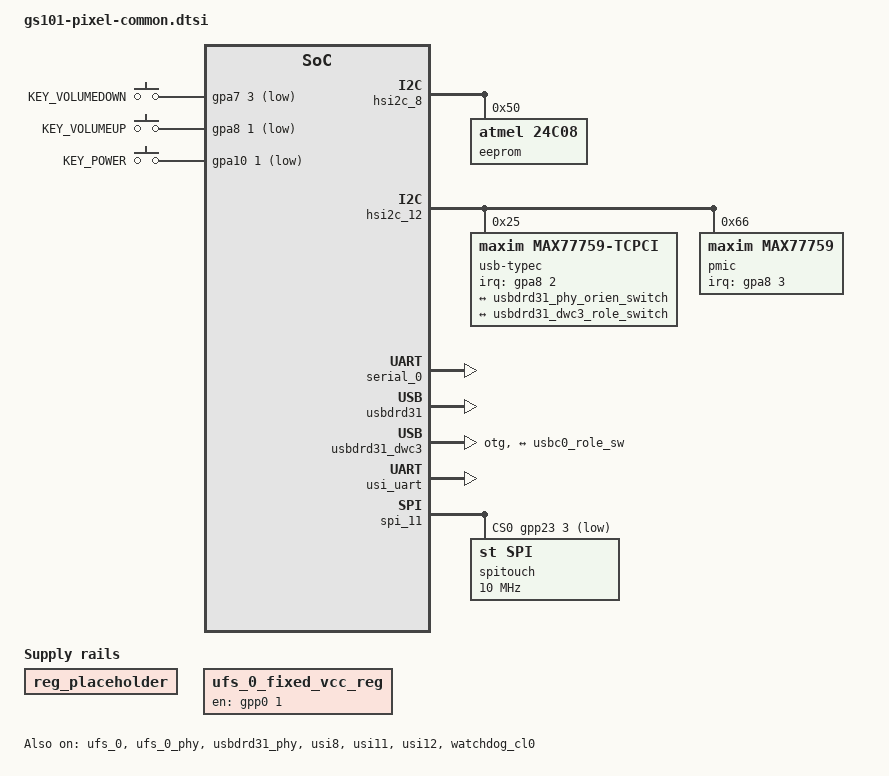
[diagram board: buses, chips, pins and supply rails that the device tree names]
// SPDX-License-Identifier: GPL-2.0-only
/*
 * Device Tree nodes common for all GS101-based Pixel
 *
 * Copyright 2021-2023 Google LLC
 * Copyright 2023 Linaro Ltd - <peter.griffin@linaro.org>
 */

/dts-v1/;

#include <dt-bindings/gpio/gpio.h>
#include <dt-bindings/input/input.h>
#include <dt-bindings/regulator/samsung,s2mpg10-regulator.h>
#include <dt-bindings/usb/pd.h>
#include "gs101-pinctrl.h"
#include "gs101.dtsi"

/ {
	aliases {
		serial0 = &serial_0;
	};

	chosen {
		/* Bootloader expects bootargs specified otherwise it crashes */
		bootargs = "";
		stdout-path = &serial_0;

		/* Use display framebuffer as setup by bootloader */
		framebuffer0: framebuffer-0 {
			compatible = "simple-framebuffer";
			memory-region = <&cont_splash_mem>;
			/* format properties to be added by actual board */
			status = "disabled";
		};
	};

	gpio-keys {
		compatible = "gpio-keys";
		pinctrl-0 = <&key_voldown>, <&key_volup>, <&key_power>;
		pinctrl-names = "default";

		button-vol-down {
			label = "KEY_VOLUMEDOWN";
			linux,code = <KEY_VOLUMEDOWN>;
			gpios = <&gpa7 3 GPIO_ACTIVE_LOW>;
			wakeup-source;
		};

		button-vol-up {
			label = "KEY_VOLUMEUP";
			linux,code = <KEY_VOLUMEUP>;
			gpios = <&gpa8 1 GPIO_ACTIVE_LOW>;
			wakeup-source;
		};

		button-power {
			label = "KEY_POWER";
			linux,code = <KEY_POWER>;
			gpios = <&gpa10 1 GPIO_ACTIVE_LOW>;
			wakeup-source;
		};
	};

	reboot-mode {
		compatible = "nvmem-reboot-mode";
		nvmem-cells = <&nvmem_reboot_mode>;
		nvmem-cell-names = "reboot-mode";
		mode-bootloader = <0x800000fc>;
		mode-charge = <0x8000000a>;
		mode-dm-verity-device-corrupted = <0x80000050>;
		mode-fastboot = <0x800000fa>;
		mode-reboot-ab-update = <0x80000052>;
		mode-recovery = <0x800000ff>;
		mode-rescue = <0x800000f9>;
		mode-shutdown-thermal = <0x80000051>;
		mode-shutdown-thermal-battery = <0x80000051>;
	};

	/* TODO: Remove this once PMIC is implemented  */
	reg_placeholder: regulator-0 {
		compatible = "regulator-fixed";
		regulator-name = "placeholder_reg";
	};

	/* TODO: Remove this once S2MPG11 slave PMIC is implemented  */
	ufs_0_fixed_vcc_reg: regulator-1 {
		compatible = "regulator-fixed";
		regulator-name = "ufs-vcc";
		gpio = <&gpp0 1 GPIO_ACTIVE_HIGH>;
		regulator-boot-on;
		enable-active-high;
	};

	reserved-memory {
		cont_splash_mem: splash@fac00000 {
			/* size to be updated by actual board */
			reg = <0x0 0xfac00000 0x0>;
			no-map;
			status = "disabled";
		};
	};
};

&acpm_ipc {
	pmic {
		compatible = "samsung,s2mpg10-pmic";
		interrupts-extended = <&gpa0 6 IRQ_TYPE_LEVEL_LOW>;
		pinctrl-names = "default";
		pinctrl-0 = <&pmic_int>;
		system-power-controller;
		wakeup-source;

		vinl1m-supply = <&s2mpg11_buck3s>;
		vinl2m-supply = <&s2mpg11_buck3s>;
		vinl3m-supply = <&s2mpg10_buck8m>;
		vinl4m-supply = <&s2mpg10_buck9m>;
		vinl5m-supply = <&s2mpg10_buck9m>;
		vinl6m-supply = <&s2mpg10_buck9m>;
		vinl7m-supply = <&s2mpg11_buck6s>;
		vinl8m-supply = <&s2mpg11_buck6s>;
		vinl9m-supply = <&s2mpg11_buck7s>;
		vinl10m-supply = <&s2mpg11_buck7s>;
		vinl11m-supply = <&s2mpg11_buck7s>;
		vinl12m-supply = <&s2mpg11_bucka>;
		vinl13m-supply = <&s2mpg11_bucka>;
		vinl14m-supply = <&s2mpg11_buckboost>;
		vinl15m-supply = <&s2mpg11_buckboost>;

		clocks {
			compatible = "samsung,s2mpg10-clk";
			#clock-cells = <1>;
			clock-output-names = "s2mpg10_ap", "s2mpg10_peri2",
					     "s2mpg10_peri1";
		};

		regulators {
			buck1m {
				regulator-name = "vdd_mif";
				regulator-min-microvolt = <450000>;
				regulator-max-microvolt = <1300000>;
				regulator-ramp-delay = <6250>;
				samsung,ext-control = <S2MPG10_PCTRLSEL_PWREN_MIF>;
				regulator-always-on;
			};

			buck2m {
				regulator-name = "vdd_cpucl2";
				regulator-min-microvolt = <450000>;
				regulator-max-microvolt = <1300000>;
				regulator-ramp-delay = <12500>;
				samsung,ext-control = <S2MPG10_PCTRLSEL_CPUCL2_EN2>;
				regulator-always-on;
			};

			buck3m {
				regulator-name = "vdd_cpucl1";
				regulator-min-microvolt = <450000>;
				regulator-max-microvolt = <1300000>;
				regulator-ramp-delay = <12500>;
				samsung,ext-control = <S2MPG10_PCTRLSEL_CPUCL1_EN2>;
				regulator-always-on;
			};

			buck4m {
				regulator-name = "vdd_cpucl0";
				regulator-min-microvolt = <450000>;
				regulator-max-microvolt = <1300000>;
				regulator-ramp-delay = <12500>;
				samsung,ext-control = <S2MPG10_PCTRLSEL_PWREN>;
				regulator-always-on;
			};

			buck5m {
				regulator-name = "vdd_int";
				regulator-ramp-delay = <12500>;
				samsung,ext-control = <S2MPG10_PCTRLSEL_PWREN_MIF>;
				regulator-always-on;
			};

			buck6m {
				regulator-name = "vdd_cpucl2_m";
				regulator-ramp-delay = <12500>;
				samsung,ext-control = <S2MPG10_PCTRLSEL_CPUCL2_EN2>;
				regulator-always-on;
			};

			buck7m {
				/* GPU */
				regulator-name = "vdd_int_m";
				regulator-ramp-delay = <6250>;
				samsung,ext-control = <S2MPG10_PCTRLSEL_PWREN_MIF>;
			};

			s2mpg10_buck8m: buck8m {
				regulator-name = "lldo2";
				regulator-ramp-delay = <6250>;
				// needs to be on during boot, until all consumers have
				// probed and established their links to this
				regulator-boot-on;
			};

			s2mpg10_buck9m: buck9m {
				regulator-name = "lldo3";
				regulator-ramp-delay = <6250>;
				// needs to be on during boot, until all consumers have
				// probed and established their links to this
				regulator-boot-on;
			};

			buck10m {
				regulator-name = "vdd_tpu";
				regulator-ramp-delay = <12500>;
				samsung,ext-control = <S2MPG10_PCTRLSEL_TPU_EN>;
			};

			ldo1m {
				/* ALIVE, AOC PLL */
				regulator-name = "vdd_l1m_alive";
				regulator-always-on;
			};

			s2mpg10_ldo2m: ldo2m {
				/* lots, DDR */
				regulator-name = "vdd_l2m_alive";
				regulator-always-on;
			};

			ldo3m {
				/* AVDD: MIPI CSI & DSI, PLL: CPUCL SHARED TPU UFS */
				regulator-name = "ldo3m";
				samsung,ext-control = <S2MPG10_PCTRLSEL_PWREN_MIF>;
				// we need always on otherwise things just hang
				regulator-always-on;
			};

			ldo4m {
				/* AVDD: MIPI CSI & DSI, UFS, OTP, TS_SUB, TS_TOP, XOTP */
				regulator-name = "S2MPG10_LDO4 (IO, OTP)";
				samsung,ext-control = <S2MPG10_PCTRLSEL_PWREN_MIF>;
				// we need always on otherwise hard reset
				regulator-always-on;
			};

			ldo5m {
				/* VDD: ADD, AVDD: TCXO & TCXO_FAR */
				regulator-name = "avdd075_tcxo";
				samsung,ext-control = <S2MPG10_PCTRLSEL_TCXO_ON>;
				// we need always on otherwise UFS stops working
				regulator-always-on;
			};

			ldo6m {
				/* PLL CPUCL & MIFx, UFS clk, MIPI DSI */
				regulator-name = "vdd_pll";
				samsung,ext-control = <S2MPG10_PCTRLSEL_PWREN_MIF>;
				// we need always on otherwise hang
				regulator-always-on;
			};

			ldo7m {
				/* IO (HSI (USB)) */
				// TODO: link to HSI - vdd_hsi-supply
				regulator-name = "vdd_hsi";
				regulator-min-microvolt = <750000>;
				regulator-max-microvolt = <750000>;
				// without this, Linux hangs during USB access
				regulator-always-on;
			};

			ldo8m {
				/* USB */
				regulator-name = "vdd085_usb";
				regulator-min-microvolt = <850000>;
				regulator-max-microvolt = <850000>;
				regulator-always-on;
			};

			ldo9m {
				/* USB */
				regulator-name = "vdd18_usb";
				regulator-min-microvolt = <1800000>;
				regulator-max-microvolt = <1800000>;
				regulator-always-on;
			};

			ldo10m {
				/* USB */
				regulator-name = "vdd33_usb";
				regulator-min-microvolt = <3000000>;
				regulator-max-microvolt = <3000000>;
				regulator-always-on;
			};

			ldo11m {
				/* CPU(MID) */
				regulator-name = "vdd_cpucl1_m";
				regulator-ramp-delay = <6250>;
				samsung,ext-control = <S2MPG10_PCTRLSEL_CPUCL1_EN2>;
				// we need always on otherwise hang
				regulator-always-on;
			};

			ldo12m {
				/* CPU(LITTLE) */
				regulator-name = "vdd_cpucl0_m";
				regulator-ramp-delay = <6250>;
				samsung,ext-control = <S2MPG10_PCTRLSEL_PWREN>;
				// we need always on otherwise hang
				regulator-always-on;
			};

			ldo13m {
				/* TPU */
				regulator-name = "vdd_tpu_m";
				regulator-ramp-delay = <12500>;
				samsung,ext-control = <S2MPG10_PCTRLSEL_TPU_EN>;
			};

			ldo14m {
				/* PLL (for PCIe?) */
				regulator-name = "avdd18_tcxo";
				samsung,ext-control = <S2MPG10_PCTRLSEL_TCXO_ON>;
				regulator-boot-on;
				// we need always on otherwise UFS stops working
				regulator-always-on;
			};

			ldo15m {
				/* SLC (memory power (cache?)) */
				regulator-name = "vdd_slc_m";
				regulator-ramp-delay = <12500>;
				regulator-always-on;
			};

			ldo16m {
				/* PCIe */
				regulator-name = "vdd085_pcie0";
				samsung,ext-control = <S2MPG10_PCTRLSEL_ON>;
			};

			ldo17m {
				/* PCIe */
				regulator-name = "vdd085_pcie1";
				samsung,ext-control = <S2MPG10_PCTRLSEL_ON>;
			};

			ldo18m {
				/* PCIe */
				regulator-name = "vdd18_pcie0";
				samsung,ext-control = <S2MPG10_PCTRLSEL_ON>;
			};

			ldo19m {
				/* PCIe */
				regulator-name = "vdd18_pcie1";
				samsung,ext-control = <S2MPG10_PCTRLSEL_ON>;
			};

			ldo20m {
				/* DMIC (memory power) */
				regulator-name = "vddq_aoc_pdm";
				regulator-always-on;
			};

			ldo21m {
				/* DTLS (dauntless)  */
				regulator-name = "vdd_dtls";
				regulator-always-on;
			};

			ldo22m {
				/* display */
				regulator-name = "vci_disp";
			};


			ldo25m {
				/* touch */
				regulator-name = "dvdd_tsp";
			};

			ldo26m {
				/* touch */
				regulator-name = "avdd_ts";
			};

			ldo27m {
				/* UDFPS (under-display fingerprint scanner) */
				regulator-name = "avdd_udfps";
			};

			ldo28m {
				/* display */
				regulator-name = "S2MPG10_LDO28 (display)";
			};

			ldo31m {
				/* NFC */
				regulator-name = "nfc";
			};

		};
	};

	pmic2 {
		compatible = "samsung,s2mpg11-pmic";
		interrupts-extended = <&gpa0 7 IRQ_TYPE_LEVEL_LOW>;
		pinctrl-names = "default";
		pinctrl-0 = <&sub_pmic_int>;
		wakeup-source;

		vinl1s-supply = <&s2mpg10_buck8m>;
		vinl2s-supply = <&s2mpg11_buck6s>;
		vinl3s-supply = <&s2mpg11_buck7s>;
		vinl4s-supply = <&s2mpg11_buck7s>;
		vinl5s-supply = <&s2mpg11_buckboost>;
		vinl6s-supply = <&s2mpg11_buckboost>;
		vinbd-supply = <&s2mpg11_buckboost>;

		regulators {
			buck1s {
				/* multimedia */
				regulator-name = "vdd_cam";
				regulator-ramp-delay = <12500>;
				samsung,ext-control = <S2MPG11_PCTRLSEL_PWREN_MIF>;
				// always on, otherwise vibrator keeps buzzing
				regulator-always-on;
			};

			buck2s {
				/* GPU */
				regulator-name = "vdd_g3d";
				regulator-ramp-delay = <12500>;
				samsung,ext-control = <S2MPG11_PCTRLSEL_G3D_EN>;
			};

			s2mpg11_buck3s: buck3s {
				regulator-name = "lldo1";
				regulator-ramp-delay = <6250>;
			};

			buck4s {
				/* DDR */
				regulator-name = "vdd2h_mem";
				regulator-ramp-delay = <6250>;
				regulator-always-on;
			};

			buck5s {
				/* DDR */
				regulator-name = "vddq_mem";
				regulator-min-microvolt = <400000>;
				regulator-max-microvolt = <1300000>;
				regulator-ramp-delay = <6250>;
				samsung,ext-control = <S2MPG11_PCTRLSEL_PWREN_MIF>;
				regulator-always-on;
			};

			s2mpg11_buck6s: buck6s {
				regulator-name = "lldo4";
				regulator-ramp-delay = <6250>;
			};

			s2mpg11_buck7s: buck7s {
				regulator-name = "mldo";
				regulator-ramp-delay = <6250>;
			};

			buck8s {
				/* GPU */
				regulator-name = "vdd_g3d_l2";
				regulator-ramp-delay = <12500>;
				samsung,ext-control = <S2MPG11_PCTRLSEL_G3D_EN>;
				regulator-boot-on;
			};

			buck9s {
				/* AOC */
				regulator-name = "vdd_aoc";
				regulator-ramp-delay = <12500>;
				regulator-always-on;
			};

			buck10s {
				/* DDR */
				regulator-name = "vdd2l_mem";
				regulator-ramp-delay = <6250>;
				regulator-always-on;
			};

			buckd {
				/* UFS, vcc */
				regulator-name = "vcc_ufs";
				regulator-ramp-delay = <6250>;
				samsung,ext-control = <S2MPG11_PCTRLSEL_UFS_EN>;
				samsung,ext-control-gpios = <&gpp0 1 GPIO_ACTIVE_HIGH>;
			};

			s2mpg11_bucka: bucka {
				/* lots, IO */
				regulator-name = "bucka";
				regulator-ramp-delay = <6250>;
				regulator-always-on;
			};

			s2mpg11_buckboost: buckboost {
				regulator-name = "buckboost";
			};

			ldo1s {
				/* GPU */
				regulator-name = "vdd_g3d_m";
				regulator-ramp-delay = <6250>;
				samsung,ext-control = <S2MPG11_PCTRLSEL_G3D_EN>;
			};

			ldo2s {
				/* AOC */
				regulator-name = "vdd_aoc_ret";
				regulator-ramp-delay = <12500>;
				regulator-always-on;
			};

			ldo4s {
				/* UWB (raven only) */
				regulator-name = "vdd2_uwb";
			};

			ldo6s {
				/* Sensors */
				regulator-name = "vdd_prox";
			};

			ldo7s {
				/* Sensors */
				regulator-name = "vdd_sensors";
			};

			ldo8s {
				/* UFS, vccq */
				regulator-name = "vccq_ufs";
				samsung,ext-control = <S2MPG11_PCTRLSEL_UFS_EN>;
				samsung,ext-control-gpios = <&gpp0 1 GPIO_ACTIVE_HIGH>;
			};

			ldo9s {
				/* GPS */
				regulator-name = "vdd_gnss";
			};

			ldo10s {
				/* GPS */
				regulator-name = "vdd_gnss_rf";
			};

			ldo11s {
				/* GPS */
				regulator-name = "vdd_gnss_aux";
			};

			ldo13s {
				regulator-name = "vddq_mmc";
				samsung,ext-control = <S2MPG11_PCTRLSEL_LDO13S_EN>;
			};

			ldo14s {
				/* UWB */
				regulator-name = "vdd3_uwb";
			};
		};
	};
};

&ext_24_5m {
	clock-frequency = <24576000>;
};

&ext_200m {
	clock-frequency = <200000000>;
};

&hsi2c_8 {
	status = "okay";

	eeprom: eeprom@50 {
		compatible = "atmel,24c08";
		reg = <0x50>;
	};
};

&hsi2c_12 {
	status = "okay";
	/* TODO: add the devices once drivers exist */

	usb-typec@25 {
		compatible = "maxim,max77759-tcpci", "maxim,max33359";
		reg = <0x25>;
		interrupts-extended = <&gpa8 2 IRQ_TYPE_LEVEL_LOW>;
		pinctrl-0 = <&typec_int>;
		pinctrl-names = "default";

		connector {
			compatible = "usb-c-connector";
			label = "USB-C";
			data-role = "dual";
			power-role = "dual";
			self-powered;
			try-power-role = "sink";
			op-sink-microwatt = <2600000>;
			slow-charger-loop;
			/*
			 * max77759 operating in reverse boost mode (0xA) can
			 * source up to 1.5A while extboost can only do ~1A.
			 * Since extboost is the primary path, advertise 900mA.
			 */
			source-pdos = <PDO_FIXED(5000, 900,
						 (PDO_FIXED_SUSPEND
						  | PDO_FIXED_USB_COMM
						  | PDO_FIXED_DATA_SWAP
						  | PDO_FIXED_DUAL_ROLE))>;
			sink-pdos = <PDO_FIXED(5000, 3000,
					       (PDO_FIXED_DATA_SWAP
						| PDO_FIXED_USB_COMM
						| PDO_FIXED_HIGHER_CAP
						| PDO_FIXED_DUAL_ROLE))
				     PDO_FIXED(9000, 2200, 0)
				     PDO_PPS_APDO(5000, 11000, 3000)>;
			sink-vdos = <VDO_IDH(1, 1, IDH_PTYPE_PERIPH, 0,
					     IDH_PTYPE_DFP_HOST, 2, 0x18d1)
				     VDO_CERT(0x0)
				     VDO_PRODUCT(0x4ee1, 0x0)
				     VDO_UFP(UFP_VDO_VER1_2,
					     (DEV_USB2_CAPABLE
					      | DEV_USB3_CAPABLE),
					     UFP_RECEPTACLE, 0,
					     AMA_VCONN_NOT_REQ, 0,
					     UFP_ALTMODE_NOT_SUPP,
					     UFP_USB32_GEN1)
				     /* padding */ 0
				     VDO_DFP(DFP_VDO_VER1_1,
					     (HOST_USB2_CAPABLE
					      | HOST_USB3_CAPABLE),
					     DFP_RECEPTACLE, 0)>;
			sink-vdos-v1 = <VDO_IDH(1, 1, IDH_PTYPE_PERIPH, 0,
						0, 0, 0x18d1)
					VDO_CERT(0x0)
					VDO_PRODUCT(0x4ee1, 0x0)>;
			/*
			 * Until bootloader is updated to set those two when
			 * console is enabled, we disable PD here.
			 */
			pd-disable;
			typec-power-opmode = "default";

			ports {
				#address-cells = <1>;
				#size-cells = <0>;

				port@0 {
					reg = <0>;

					usbc0_orien_sw: endpoint {
						remote-endpoint = <&usbdrd31_phy_orien_switch>;
					};
				};

				port@1 {
					reg = <1>;

					usbc0_role_sw: endpoint {
						remote-endpoint = <&usbdrd31_dwc3_role_switch>;
					};
				};
			};
		};
	};

	pmic@66 {
		compatible = "maxim,max77759";
		reg = <0x66>;

		pinctrl-0 = <&if_pmic_int>;
		pinctrl-names = "default";
		interrupts-extended = <&gpa8 3 IRQ_TYPE_LEVEL_LOW>;

		interrupt-controller;
		#interrupt-cells = <2>;

		gpio {
			compatible = "maxim,max77759-gpio";

			gpio-controller;
			#gpio-cells = <2>;
			/*
			 * "Human-readable name [SIGNAL_LABEL]" where the
			 * latter comes from the schematic
			 */
			gpio-line-names = "OTG boost [OTG_BOOST_EN]",
					  "max20339 IRQ [MW_OVP_INT_L]";

			interrupt-controller;
			#interrupt-cells = <2>;
		};

		nvmem-0 {
			compatible = "maxim,max77759-nvmem";

			nvmem-layout {
				compatible = "fixed-layout";
				#address-cells = <1>;
				#size-cells = <1>;

				nvmem_reboot_mode: reboot-mode@0 {
					reg = <0x0 0x4>;
				};

				boot-reason@4 {
					reg = <0x4 0x4>;
				};

				shutdown-user-flag@8 {
					reg = <0x8 0x1>;
				};

				rsoc@a {
					reg = <0xa 0x2>;
				};
			};
		};
	};
};

&pinctrl_far_alive {
	key_voldown: key-voldown-pins {
		samsung,pins = "gpa7-3";
		samsung,pin-function = <GS101_PIN_FUNC_EINT>;
		samsung,pin-pud = <GS101_PIN_PULL_NONE>;
		samsung,pin-drv = <GS101_PIN_DRV_2_5_MA>;
	};

	key_volup: key-volup-pins {
		samsung,pins = "gpa8-1";
		samsung,pin-function = <GS101_PIN_FUNC_EINT>;
		samsung,pin-pud = <GS101_PIN_PULL_NONE>;
		samsung,pin-drv = <GS101_PIN_DRV_2_5_MA>;
	};

	typec_int: typec-int-pins {
		samsung,pins = "gpa8-2";
		samsung,pin-function = <GS101_PIN_FUNC_EINT>;
		samsung,pin-pud = <GS101_PIN_PULL_UP>;
		samsung,pin-drv = <GS101_PIN_DRV_2_5_MA>;
	};

	if_pmic_int: if-pmic-int-pins {
		samsung,pins = "gpa8-3";
		samsung,pin-function = <GS101_PIN_FUNC_EINT>;
		samsung,pin-pud = <GS101_PIN_PULL_UP>;
		samsung,pin-drv = <GS101_PIN_DRV_2_5_MA>;
	};
};

&pinctrl_gpio_alive {
	pmic_int: pmic-int-pins {
		samsung,pins = "gpa0-6";
		samsung,pin-function = <GS101_PIN_FUNC_EINT>;
		samsung,pin-pud = <GS101_PIN_PULL_NONE>;
	};

	sub_pmic_int: sub-pmic-int-pins {
		samsung,pins = "gpa0-7";
		samsung,pin-function = <GS101_PIN_FUNC_EINT>;
		samsung,pin-pud = <GS101_PIN_PULL_NONE>;
	};

	key_power: key-power-pins {
		samsung,pins = "gpa10-1";
		samsung,pin-function = <GS101_PIN_FUNC_EINT>;
		samsung,pin-pud = <GS101_PIN_PULL_NONE>;
		samsung,pin-drv = <GS101_PIN_DRV_2_5_MA>;
	};
	ts_irq: ts-irq {
		samsung,pins = "gpa9-0";
		samsung,pin-function = <GS101_PIN_FUNC_EINT>;
		samsung,pin-pud = <GS101_PIN_PULL_NONE>;
		samsung,pin-drv = <GS101_PIN_DRV_2_5_MA>;
	};
	aoc2ap_irq: aoc2ap-irq {
		samsung,pins = "gpa8-6";
		samsung,pin-function = <GS101_PIN_FUNC_EINT>;
		samsung,pin-pud = <GS101_PIN_PULL_DOWN>;
		samsung,pin-drv = <GS101_PIN_DRV_2_5_MA>;
	};
};

&pinctrl_peric1 {
	ts_reset: ts-reset {
		samsung,pins = "gpp26-0";
		samsung,pin-pud = <GS101_PIN_PULL_NONE>;
		samsung,pin-con-pdn = <GS101_PIN_PDN_PREV>;
		samsung,pin-pud-pdn = <GS101_PIN_PULL_NONE>;
	};
	ap2aoc: ap2aoc {
		samsung,pins = "gpp26-1";
		samsung,pin-pud = <GS101_PIN_PULL_NONE>;
		samsung,pin-con-pdn = <GS101_PIN_PDN_PREV>;
		samsung,pin-pud-pdn = <GS101_PIN_PULL_NONE>;
	};
};

&serial_0 {
	status = "okay";
};

&ufs_0 {
	status = "okay";
	vcc-supply = <&ufs_0_fixed_vcc_reg>;
};

&ufs_0_phy {
	status = "okay";
};

&usbdrd31 {
	vdd10-supply = <&reg_placeholder>;
	vdd33-supply = <&reg_placeholder>;
	status = "okay";
};

&usbdrd31_dwc3 {
	dr_mode = "otg";
	usb-role-switch;
	role-switch-default-mode = "peripheral";
	maximum-speed = "super-speed-plus";
	status = "okay";

	port {
		usbdrd31_dwc3_role_switch: endpoint {
			remote-endpoint = <&usbc0_role_sw>;
		};
	};
};

&usbdrd31_phy {
	orientation-switch;
	/* TODO: Update these once PMIC is implemented */
	pll-supply = <&reg_placeholder>;
	dvdd-usb20-supply = <&reg_placeholder>;
	vddh-usb20-supply = <&reg_placeholder>;
	vdd33-usb20-supply = <&reg_placeholder>;
	vdda-usbdp-supply = <&reg_placeholder>;
	vddh-usbdp-supply = <&reg_placeholder>;
	status = "okay";

	port {
		usbdrd31_phy_orien_switch: endpoint {
			remote-endpoint = <&usbc0_orien_sw>;
		};
	};
};

&usi_uart {
	samsung,clkreq-on; /* needed for UART mode */
	status = "okay";
};

&usi8 {
	samsung,mode = <USI_MODE_I2C>;
	status = "okay";
};

&usi11 {
	samsung,mode = <USI_MODE_SPI>;
	status = "okay";
};

&usi12 {
	samsung,mode = <USI_MODE_I2C>;
	status = "okay";
};

&watchdog_cl0 {
	timeout-sec = <30>;
	status = "okay";
};

&spi_11 {
	#address-cells = <1>;
	#size-cells = <0>;
	status = "okay";
	pinctrl-0 = <>;
	cs-gpios = <&gpp23 3 GPIO_ACTIVE_LOW>;
	num-cs = <1>;
	spitouch: touchscreen@0 {
		compatible = "st,spi";
		status = "okay";
		spi-max-frequency = <10000000>;
		reg = <0>;
		pinctrl-names = "ts_active";
		pinctrl-0 = <&ts_irq &ts_reset &ap2aoc &aoc2ap_irq
			     &spi11_bus &spi11_cs>;
		//vdd-supply = <&m_ldo25_reg>;
		//avdd-supply = <&m_ldo26_reg>;
	};
};
